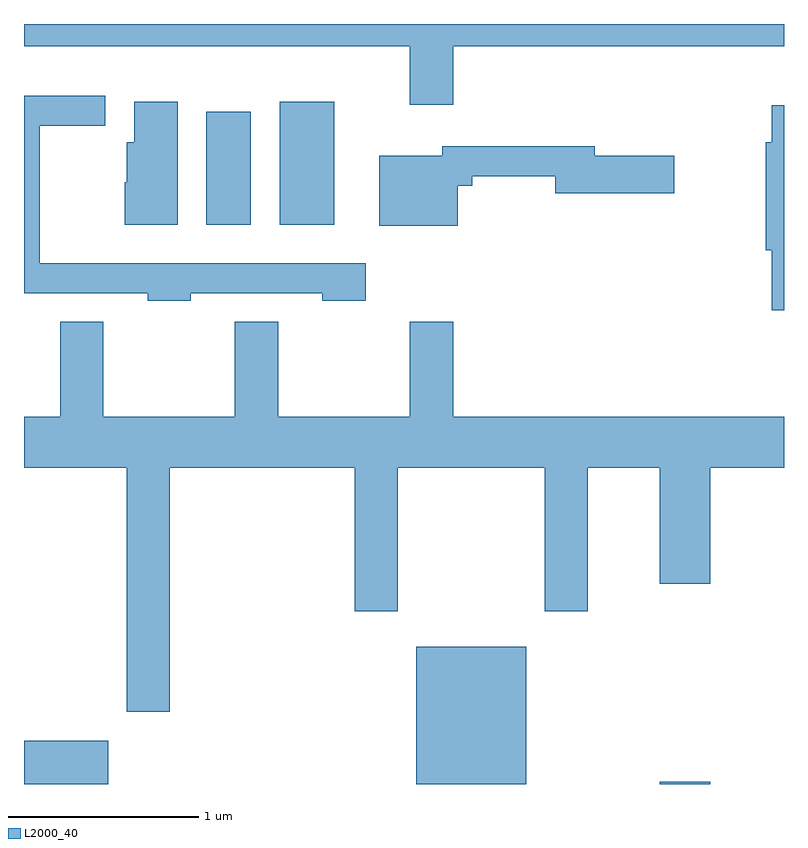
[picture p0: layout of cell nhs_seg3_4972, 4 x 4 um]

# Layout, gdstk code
import gdstk
lib = gdstk.Library(unit=1e-6, precision=1e-09)
def R(c, l, rs):  # rectangles x0, y0, x1, y1
    for r in rs: c.add(gdstk.rectangle(r[:2], r[2:], *l))
def P(c, l, *ps):  # polygons
    for p in ps: c.add(gdstk.Polygon(p, *l))
L2000_40 = (2000, 40)

nhs_seg3_4972 = lib.new_cell('nhs_seg3_4972')
R(nhs_seg3_4972, L2000_40, [(331.611,1139.892,332.054,1140.119), (333.676,1139.892,334.254,1140.614), (334.956,1139.892,335.224,1139.904), (332.571,1142.836,332.804,1143.429), (332.956,1142.836,333.244,1143.484)])
P(nhs_seg3_4972, L2000_40, [(333.869,1143.776),(335.611,1143.776),(335.611,1143.892),(331.611,1143.892),(331.611,1143.776),(333.641,1143.776),(333.641,1143.466),(333.869,1143.466)],
  [(332.489,1142.476),(333.181,1142.476),(333.181,1142.436),(333.409,1142.436),(333.409,1142.634),(331.694,1142.634),(331.694,1143.356),(332.038,1143.356),(332.038,1143.514),(331.611,1143.514),(331.611,1142.476),(332.261,1142.476),(332.261,1142.436),(332.489,1142.436)],
  [(332.419,1143.484),(332.191,1143.484),(332.191,1143.269),(332.151,1143.269),(332.151,1143.06),(332.141,1143.06),(332.141,1142.836),(332.419,1142.836)],
  [(335.611,1143.464),(335.546,1143.464),(335.546,1143.269),(335.516,1143.269),(335.516,1142.701),(335.546,1142.701),(335.546,1142.386),(335.611,1142.386)],
  [(333.894,1143.041),(333.969,1143.041),(333.969,1143.091),(334.406,1143.091),(334.406,1143.001),(335.034,1143.001),(335.034,1143.199),(334.614,1143.199),(334.614,1143.249),(333.811,1143.249),(333.811,1143.199),(333.481,1143.199),(333.481,1142.831),(333.894,1142.831)],
  [(332.379,1141.556),(333.351,1141.556),(333.351,1140.801),(333.579,1140.801),(333.579,1141.556),(334.351,1141.556),(334.351,1140.801),(334.579,1140.801),(334.579,1141.556),(334.956,1141.556),(334.956,1140.946),(335.224,1140.946),(335.224,1141.556),(335.611,1141.556),(335.611,1141.824),(333.869,1141.824),(333.869,1142.324),(333.641,1142.324),(333.641,1141.824),(332.949,1141.824),(332.949,1142.324),(332.721,1142.324),(332.721,1141.824),(332.029,1141.824),(332.029,1142.324),(331.801,1142.324),(331.801,1141.824),(331.611,1141.824),(331.611,1141.556),(332.151,1141.556),(332.151,1140.271),(332.379,1140.271)])

lib.write_gds('nhs_seg3_4972.gds')
